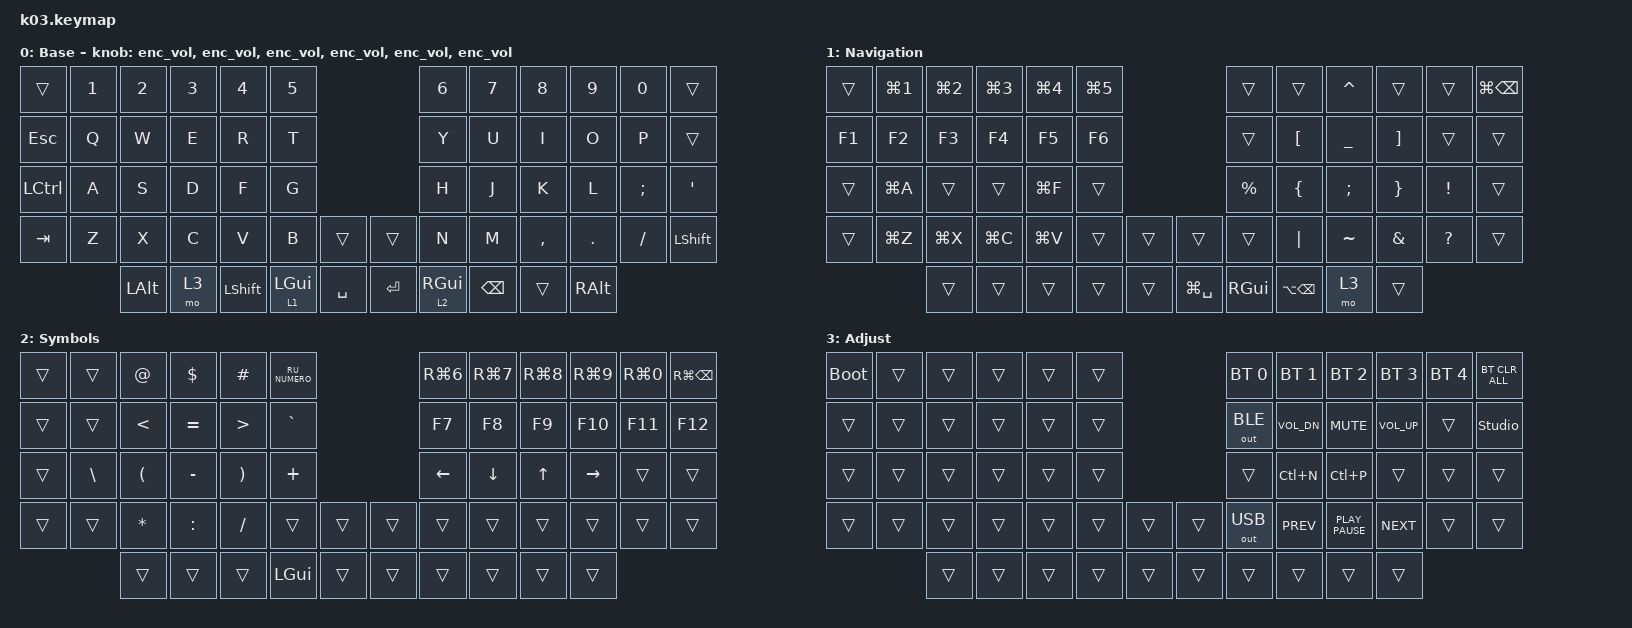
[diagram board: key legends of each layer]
#include "keys_ru.h"
#include <behaviors.dtsi>
#include <dt-bindings/zmk/bt.h>
#include <dt-bindings/zmk/keys.h>
#include <dt-bindings/zmk/outputs.h>

/ {
    behaviors {
        enc_vol: enc_vol {
            compatible = "zmk,behavior-sensor-rotate";
            label = "ENC_VOL";
            #sensor-binding-cells = <0>;
            bindings = <&kp C_VOL_UP>, <&kp C_VOL_DN>;
        };
    };

    keymap {
        compatible = "zmk,keymap";

        base {
            bindings = <
&trans      &kp N1  &kp N2    &kp N3  &kp N4     &kp N5                              &kp N6      &kp N7         &kp N8     &kp N9    &kp N0    &trans
&kp ESCAPE  &kp Q   &kp W     &kp E   &kp R      &kp T                               &kp Y       &kp U          &kp I      &kp O     &kp P     &trans
&kp LCTRL   &kp A   &kp S     &kp D   &kp F      &kp G                               &kp H       &kp J          &kp K      &kp L     &kp SEMI  &kp SQT
&kp TAB     &kp Z   &kp X     &kp C   &kp V      &kp B       &trans       &trans     &kp N       &kp M          &kp COMMA  &kp DOT   &kp FSLH  &kp LSHFT
                    &kp LALT  &mo 3   &kp LSHFT  &lt 1 LGUI  &kp SPACE    &kp ENTER  &lt 2 RGUI  &kp BACKSPACE  &trans     &kp RALT
            >;

            display-name = "Base";
            sensor-bindings =
                <&enc_vol>,
                <&enc_vol>,
                <&enc_vol>,
                <&enc_vol>,
                <&enc_vol>,
                <&enc_vol>;
        };

        nav {
            bindings = <
&trans  &kp LG(NUMBER_1)  &kp LG(NUMBER_2)  &kp LG(NUMBER_3)  &kp LG(NUMBER_4)  &kp LG(NUMBER_5)                           &trans       &trans             &kp CARET  &trans             &trans           &kp LG(BACKSPACE)
&kp F1  &kp F2            &kp F3            &kp F4            &kp F5            &kp F6                                     &trans       &kp LEFT_BRACKET   &kp UNDER  &kp RIGHT_BRACKET  &trans           &trans
&trans  &kp LG(A)         &trans            &trans            &kp LG(F)         &trans                                     &kp PERCENT  &kp LEFT_BRACE     &kp SEMI   &kp RIGHT_BRACE    &kp EXCLAMATION  &trans
&trans  &kp LG(Z)         &kp LG(X)         &kp LG(C)         &kp LG(V)         &trans            &trans    &trans         &trans       &kp PIPE           &kp TILDE  &kp AMPERSAND      &kp QMARK        &trans
                          &trans            &trans            &trans            &trans            &trans    &kp LG(SPACE)  &kp RGUI     &kp LA(BACKSPACE)  &mo 3      &trans
            >;

            display-name = "Navigation";
        };

        sym {
            bindings = <
&trans  &trans    &kp AT    &kp DLLR   &kp HASH  &kp RU_NUMERO                    &kp RG(NUMBER_6)  &kp RG(NUMBER_7)  &kp RG(NUMBER_8)  &kp RG(NUMBER_9)  &kp RG(NUMBER_0)  &kp RG(BACKSPACE)
&trans  &trans    &kp LT    &kp EQUAL  &kp GT    &kp GRAVE                        &kp F7            &kp F8            &kp F9            &kp F10           &kp F11           &kp F12
&trans  &kp BSLH  &kp LPAR  &kp MINUS  &kp RPAR  &kp PLUS                         &kp LEFT_ARROW    &kp DOWN_ARROW    &kp UP_ARROW      &kp RIGHT_ARROW   &trans            &trans
&trans  &trans    &kp STAR  &kp COLON  &kp FSLH  &trans         &trans    &trans  &trans            &trans            &trans            &trans            &trans            &trans
                  &trans    &trans     &trans    &kp LGUI       &trans    &trans  &trans            &trans            &trans            &trans
            >;

            display-name = "Symbols";
        };

        adj {
            bindings = <
&bootloader  &trans  &trans  &trans  &trans  &trans                    &bt BT_SEL 0  &bt BT_SEL 1  &bt BT_SEL 2      &bt BT_SEL 3     &bt BT_SEL 4  &bt BT_CLR_ALL
&trans       &trans  &trans  &trans  &trans  &trans                    &out OUT_BLE  &kp C_VOL_DN  &kp K_MUTE        &kp C_VOLUME_UP  &trans        &studio_unlock
&trans       &trans  &trans  &trans  &trans  &trans                    &trans        &kp LC(N)     &kp LC(P)         &trans           &trans        &trans
&trans       &trans  &trans  &trans  &trans  &trans  &trans    &trans  &out OUT_USB  &kp K_PREV    &kp K_PLAY_PAUSE  &kp K_NEXT       &trans        &trans
                     &trans  &trans  &trans  &trans  &trans    &trans  &trans        &trans        &trans            &trans
            >;

            display-name = "Adjust";
        };
    };
};
